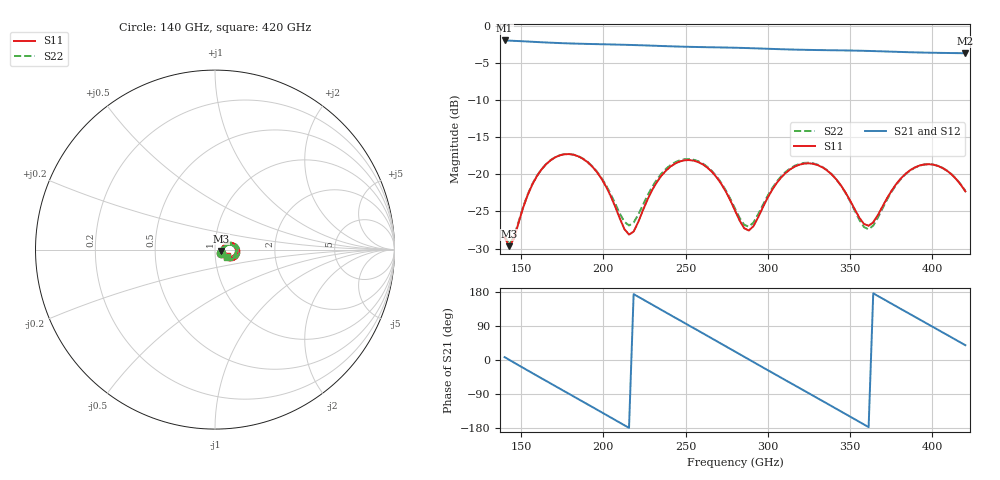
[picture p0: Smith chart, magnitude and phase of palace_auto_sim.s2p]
#  GHZ S DB R 50
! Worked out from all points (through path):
!   101 points, 140 GHz to 420 GHz, reference 50 ohm
!   highest |S21| = -1.99 dB at 140 GHz (marker M1); lowest = -3.7 dB at 420 GHz (marker M2)
!   group delay of S21, straight-line fit = 6.83 ps
!   lowest |S11| = -29.7 dB at 142.8 GHz (marker M3), VSWR 1.07, Z = 53.3 - j0.758 ohm
!   |S11| at or under -10 dB: start of sweep to end of sweep
!   |S22| runs from -29.4 to -17.3 dB; largest |S21 - S12| = 1.2e-13
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140  -28.49 -34.1  -1.99 7.5  -1.99 7.5  -28.31 -32.4
142.8  -29.67 -12.5  -2.01 0.5  -2.01 0.5  -29.40 -11.5
154  -22.79 27.8  -2.13 -27.4  -2.13 -27.4  -22.72 27.7
168  -18.11 10.4  -2.29 -62.0  -2.29 -62.0  -18.09 10.9
187.6  -17.91 -23.6  -2.44 -110.1  -2.44 -110.1  -17.89 -22.1
201.6  -21.63 -41.0  -2.51 -144.5  -2.51 -144.5  -21.47 -37.8
215.6  -28.12 -11.1  -2.59 -179.1  -2.59 -179.1  -26.89 -9.5
235.2  -20.22 18.6  -2.73 132.4  -2.73 132.4  -19.93 15.5
246.4  -18.28 2.2  -2.81 104.9  -2.81 104.9  -18.12 -0.0
257.6  -18.35 -16.2  -2.87 77.5  -2.87 77.5  -18.24 -17.8
280  -24.87 -33.2  -2.97 22.3  -2.97 22.3  -24.61 -33.4
288.4  -27.57 -4.1  -3.02 1.5  -3.02 1.5  -27.05 -5.6
299.6  -23.25 23.0  -3.10 -26.1  -3.10 -26.1  -22.99 19.8
313.6  -19.32 11.4  -3.20 -60.3  -3.20 -60.3  -19.20 8.4
327.6  -18.60 -9.4  -3.27 -94.5  -3.27 -94.5  -18.53 -12.4
347.2  -22.47 -30.9  -3.33 -142.6  -3.33 -142.6  -22.52 -34.6
361.2  -26.93 -2.3  -3.40 -177.1  -3.40 -177.1  -27.40 -4.5
375.2  -22.19 22.2  -3.50 148.4  -3.50 148.4  -22.33 21.8
386.4  -19.45 11.9  -3.57 121.1  -3.57 121.1  -19.49 11.3
397.6  -18.64 -4.1  -3.63 93.8  -3.63 93.8  -18.64 -4.9
408.8  -19.52 -19.9  -3.67 66.4  -3.67 66.4  -19.50 -20.8
420  -22.30 -30.0  -3.71 39.0  -3.71 39.0  -22.23 -30.7
